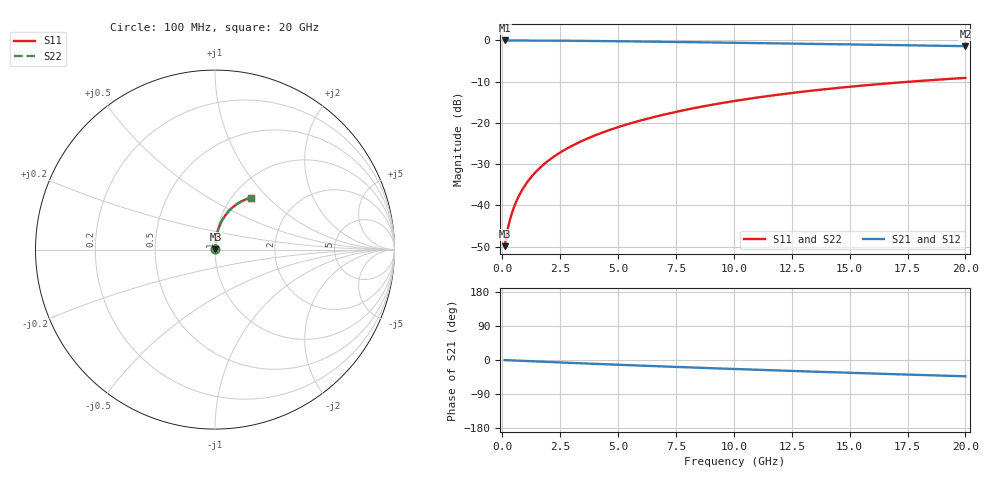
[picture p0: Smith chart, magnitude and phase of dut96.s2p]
! Touchstone file exported from HFSS 2024.1.0
!  File:  C:/UserFiles/LocalFiles/RDL_TSV_Batchsim/temp_RDL_top_96_1778683054.aedt
!  Generated:  10:39:32 PM May 13, 2026
!  Design:  RDL_top
!  Project:  temp_RDL_top_96_1778683054
!  Setup:  Setup1
!  Solution:  Sweep
! Variables:
!  dtsv = 10.80580581um
!  hbump = 3um
!  htsv = 68.5um
!  ldown = 100um
!  lrdl = 659.43um
!  p = 40
!  p1 = 43.5um
!  rhole = 1um
!  t = 450um
!  tdown = 3.915915916um
!  trdl = 4.83um
!  wdown = 15.38538539um
!  wrdl = 20.28um
# GHz S MA R 50.000000
! Terminal data exported
! Port[1] = Box2_T1
! Port[2] = Box2_T2
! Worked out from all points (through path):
!   200 points, 100 MHz to 20 GHz, reference 50 ohm
!   highest |S21| = -0.02 dB at 100 MHz (marker M1); lowest = -1.4 dB at 20 GHz (marker M2)
!   group delay of S21, straight-line fit = 5.93 ps
!   lowest |S11| = -49.9 dB at 100 MHz (marker M3), VSWR 1.01, Z = 50.3 + j0.196 ohm
!   |S11| at or under -10 dB: start of sweep to 17.62 GHz
!   |S22| runs from -49.9 to -9.1 dB; largest |S21 - S12| = 1.3e-14
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0.1  0.003205 37.4  0.9974 -0.3  0.9974 -0.3  0.003205 37.4
! Gamma 0 0 0 0
! Port Impedance 50 0 50 0
0.2  0.004652 54.3  0.9973 -0.5  0.9973 -0.5  0.004651 54.3
0.3  0.006218 62.6  0.9971 -0.8  0.9971 -0.8  0.006217 62.6
0.4  0.007815 67.6  0.9969 -1.1  0.9969 -1.1  0.007814 67.6
0.5  0.009436 71.1  0.9968 -1.3  0.9968 -1.3  0.009435 71.1
0.6  0.01108 73.6  0.9966 -1.6  0.9966 -1.6  0.01108 73.6
0.8  0.01441 76.9  0.9963 -2.1  0.9963 -2.1  0.01441 76.9
1.1  0.0195 79.7  0.9957 -2.9  0.9957 -2.9  0.0195 79.7
1.5  0.02636 81.6  0.9946 -3.9  0.9946 -3.9  0.02636 81.7
1.8  0.03155 82.4  0.9936 -4.7  0.9936 -4.7  0.03155 82.5
2.1  0.03677 82.9  0.9925 -5.4  0.9925 -5.4  0.03677 83.0
2.7  0.04728 83.3  0.9898 -7.0  0.9898 -7.0  0.04729 83.4
3.5  0.06147 83.3  0.9855 -8.9  0.9855 -8.9  0.0615 83.4
4.2  0.07409 83.0  0.9812 -10.7  0.9812 -10.7  0.07413 83.1
5  0.08874 82.3  0.9757 -12.6  0.9757 -12.6  0.08881 82.4
6.8  0.1225 80.2  0.9621 -16.7  0.9621 -16.7  0.1227 80.3
8.4  0.1532 77.7  0.9491 -20.3  0.9491 -20.3  0.1534 77.8
10.1  0.1856 74.6  0.9349 -23.9  0.9349 -23.9  0.1859 74.7
11.7  0.2156 71.6  0.9213 -27.2  0.9213 -27.2  0.216 71.7
13.4  0.2464 68.2  0.9068 -30.6  0.9068 -30.6  0.2468 68.3
16.7  0.3018 61.8  0.8786 -37.0  0.8786 -37.0  0.3024 61.9
20  0.3509 55.5  0.851 -43.0  0.851 -43.0  0.3516 55.6
